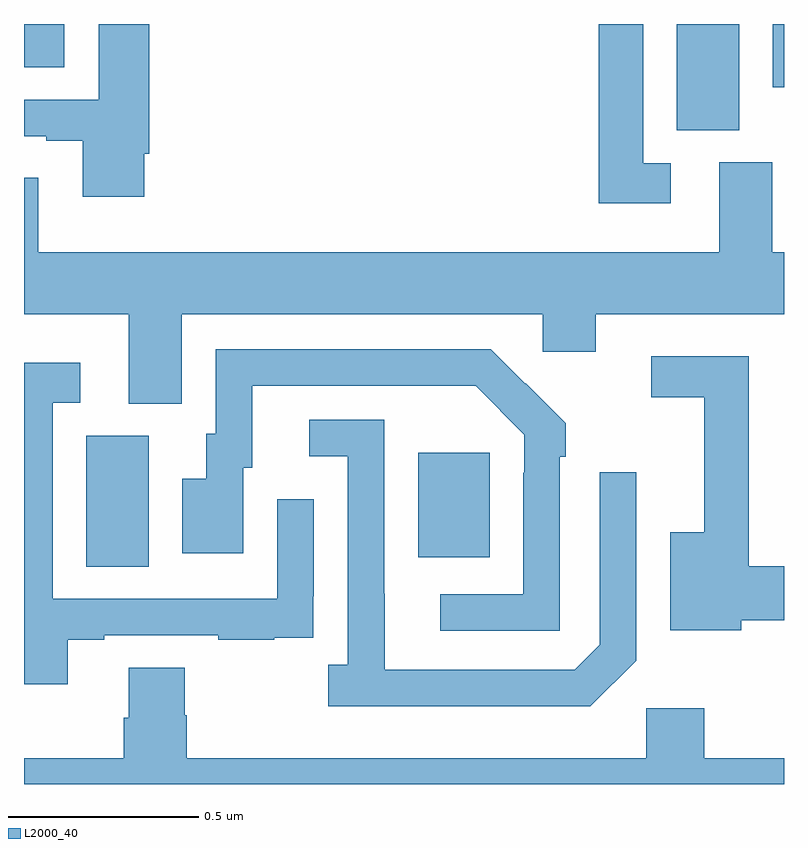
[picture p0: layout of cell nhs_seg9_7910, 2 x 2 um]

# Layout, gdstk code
import gdstk
lib = gdstk.Library(unit=1e-6, precision=1e-09)
def R(c, l, rs):  # rectangles x0, y0, x1, y1
    for r in rs: c.add(gdstk.rectangle(r[:2], r[2:], *l))
def P(c, l, *ps):  # polygons
    for p in ps: c.add(gdstk.Polygon(p, *l))
L2000_40 = (2000, 40)

nhs_seg9_7910 = lib.new_cell('nhs_seg9_7910')
R(nhs_seg9_7910, L2000_40, [(210.164,1213.072,210.328,1213.416), (211.037,1213.097,211.225,1213.372), (211.718,1214.221,211.882,1214.5), (211.97,1214.333,212,1214.5), (210,1214.386,210.106,1214.5)])
P(nhs_seg9_7910, L2000_40, [(210.316,1214.158),(210.329,1214.158),(210.329,1214.5),(210.197,1214.5),(210.197,1214.301),(210,1214.301),(210,1214.205),(210.059,1214.205),(210.059,1214.193),(210.155,1214.193),(210.155,1214.046),(210.316,1214.046)],
  [(211.702,1214.133),(211.629,1214.133),(211.629,1214.5),(211.513,1214.5),(211.513,1214.028),(211.702,1214.028)],
  [(210.415,1213.736),(211.365,1213.736),(211.365,1213.638),(211.504,1213.638),(211.504,1213.736),(212,1213.736),(212,1213.9),(211.969,1213.9),(211.969,1214.136),(211.829,1214.136),(211.829,1213.9),(210.037,1213.9),(210.037,1214.095),(210,1214.095),(210,1213.736),(210.275,1213.736),(210.275,1213.501),(210.415,1213.501)],
  [(211.41,1213.361),(211.425,1213.361),(211.425,1213.449),(211.32,1213.554),(211.319,1213.553),(211.228,1213.644),(210.504,1213.644),(210.504,1213.422),(210.479,1213.422),(210.479,1213.303),(210.416,1213.303),(210.416,1213.107),(210.577,1213.107),(210.577,1213.332),(210.601,1213.332),(210.601,1213.548),(211.189,1213.548),(211.317,1213.419),(211.317,1213.319),(211.314,1213.319),(211.314,1212.999),(211.095,1212.999),(211.095,1212.903),(211.41,1212.903)],
  [(211.888,1212.931),(212,1212.931),(212,1213.073),(211.907,1213.073),(211.907,1213.626),(211.65,1213.626),(211.65,1213.518),(211.79,1213.518),(211.79,1213.162),(211.7,1213.162),(211.7,1212.905),(211.888,1212.905)],
  [(210.115,1212.879),(210.211,1212.879),(210.211,1212.891),(210.511,1212.891),(210.511,1212.879),(210.659,1212.879),(210.659,1212.885),(210.761,1212.885),(210.761,1212.994),(210.762,1212.994),(210.762,1213.249),(210.666,1213.249),(210.666,1212.987),(210.075,1212.987),(210.075,1213.503),(210.148,1213.503),(210.148,1213.609),(210,1213.609),(210,1212.762),(210.115,1212.762)],
  [(211.611,1212.825),(211.611,1213.321),(211.515,1213.321),(211.515,1212.867),(211.449,1212.801),(210.949,1212.801),(210.949,1213.001),(210.948,1213.001),(210.948,1213.458),(210.75,1213.458),(210.75,1213.362),(210.852,1213.362),(210.852,1212.814),(210.801,1212.814),(210.801,1212.704),(211.49,1212.704)],
  [(212,1212.568),(211.79,1212.568),(211.79,1212.7),(211.638,1212.7),(211.638,1212.568),(210.428,1212.568),(210.428,1212.681),(210.423,1212.681),(210.423,1212.806),(210.275,1212.806),(210.275,1212.674),(210.263,1212.674),(210.263,1212.568),(210,1212.568),(210,1212.5),(212,1212.5)])

lib.write_gds('nhs_seg9_7910.gds')
